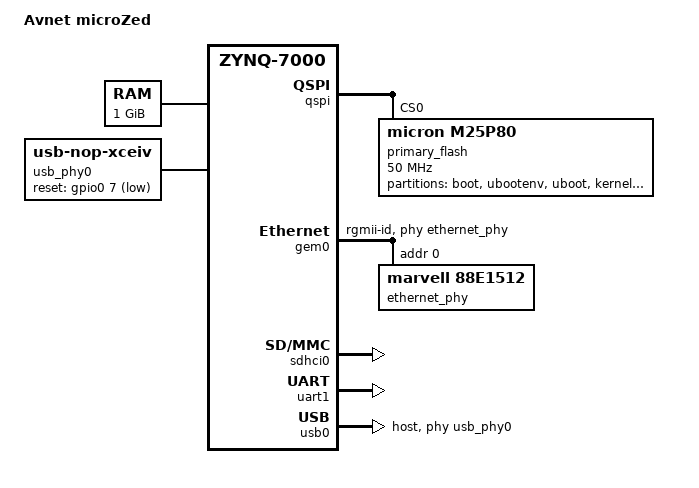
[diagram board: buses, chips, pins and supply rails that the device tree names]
/dts-v1/;
/include/ "zynq-7000.dtsi"

/ {
	model = "Avnet microZed";
	compatible = "avnet,microzed", "xlnx,zynq-7000";

	aliases {
		ethernet0 = &gem0;
		serial0 = &uart1;
	};

	memory {
		device_type = "memory";
		reg = <0x0 0x40000000>;
	};

	chosen {
		bootargs = "earlyprintk";
		stdout-path = "serial0:115200n8";
	};

	usb_phy0: phy0 {
		compatible = "usb-nop-xceiv";
		#phy-cells = <0>;
		reset-gpios = <&gpio0 7 1>; /* MIO 7, GPIO_ACTIVE_LOW */
	};
};

&amba {
	/* empty defintion for kernels that don't have qspi node */
	qspi: spi@e000d000 { };
};

&gem0 {
	status = "okay";
	phy-mode = "rgmii-id";
	phy-handle = <&ethernet_phy>;

	ethernet_phy: ethernet-phy@0 {
		compatible = "marvell,88e1512";
		device_type = "ethernet-phy";
		reg = <0>;
	};
};

&sdhci0 {
	status = "okay";
};

&uart1 {
	status = "okay";
};

&usb0 {
	status = "okay";
	dr_mode = "host";
	usb-phy = <&usb_phy0>;
};

&qspi {
	status = "okay";
	primary_flash: ps7-qspi@0 {
		#address-cells = <1>;
		#size-cells = <1>;
		compatible = "micron,m25p80", "spansion,s25fl128s", "jedec,spi-nor";
		reg = <0x0>;
		spi-max-frequency = <50000000>;
		/* Example 16M partition table using U-Boot + U-Boot SPL */
		partition@0x0 {
			label = "boot";
			reg = <0x0 0xe0000>;
		};
		partition@0xe0000 {
			label = "ubootenv";
			reg = <0xe0000 0x20000>;
		};
		partition@0x100000 {
			label = "uboot";
			reg = <0x100000 0x100000>;
		};
		partition@0x200000 {
			label = "kernel";
			reg = <0x200000 0x4f0000>;
		};
		partition@0x6f0000 {
			label = "devicetree";
			reg = <0x6f0000 0x10000>;
		};
		partition@0x700000 {
			label = "rootfs";
			reg = <0x700000 0x400000>;
		};
		partition@0xb00000 {
			label = "spare";
			reg = <0xb00000 0x500000>;
		};
	};
};

